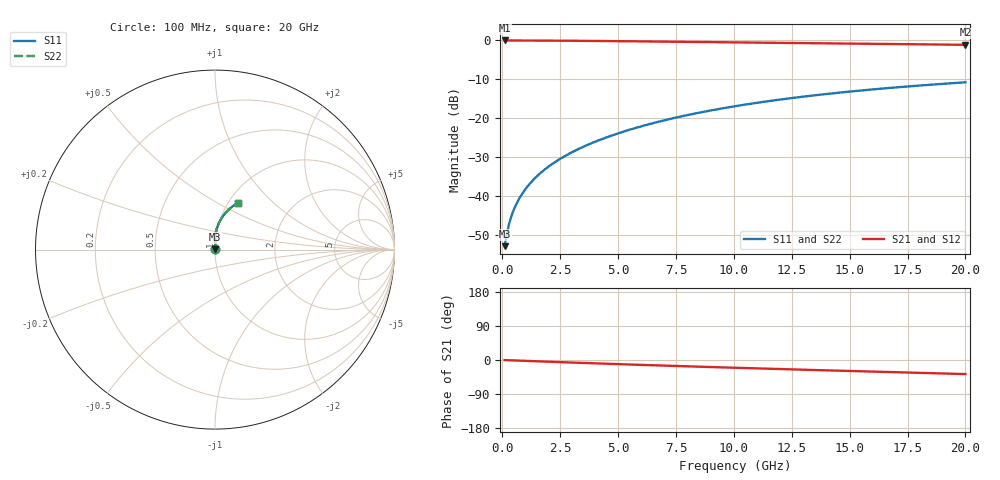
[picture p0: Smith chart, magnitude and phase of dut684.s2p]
! Touchstone file exported from HFSS 2024.1.0
!  File:  C:/UserFiles/LocalFiles/RDL_TSV_Batchsim/temp_RDL_top_684_1779782580.aedt
!  Generated:  04:04:59 PM May 26, 2026
!  Design:  RDL_top
!  Project:  temp_RDL_top_684_1779782580
!  Setup:  Setup1
!  Solution:  Sweep
! Variables:
!  dtsv = 10.80580581um
!  hbump = 3um
!  htsv = 87um
!  ldown = 100um
!  lrdl = 560.85um
!  p = 40
!  p1 = 48.77um
!  rhole = 1um
!  t = 450um
!  tdown = 3.915915916um
!  trdl = 4.87um
!  wdown = 15.38538539um
!  wrdl = 25.62um
# GHz S MA R 50.000000
! Terminal data exported
! Port[1] = Box2_T1
! Port[2] = Box2_T2
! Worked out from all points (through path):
!   200 points, 100 MHz to 20 GHz, reference 50 ohm
!   highest |S21| = -0.02 dB at 100 MHz (marker M1); lowest = -1.1 dB at 20 GHz (marker M2)
!   group delay of S21, straight-line fit = 5.09 ps
!   lowest |S11| = -52.9 dB at 100 MHz (marker M3), VSWR 1.00, Z = 50.2 + j0.138 ohm
!   |S11| at or under -10 dB: start of sweep to end of sweep
!   |S22| runs from -52.9 to -10.8 dB; largest |S21 - S12| = 4.2e-15
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0.1  0.002261 37.5  0.9982 -0.2  0.9982 -0.2  0.002261 37.5
! Gamma 0 0 0 0
! Port Impedance 50 0 50 0
0.2  0.003305 54.6  0.998 -0.5  0.998 -0.5  0.003305 54.6
0.3  0.004444 62.5  0.9978 -0.7  0.9978 -0.7  0.004444 62.5
0.4  0.005574 67.0  0.9976 -0.9  0.9976 -0.9  0.005575 67.0
0.5  0.006688 70.2  0.9975 -1.2  0.9975 -1.2  0.006688 70.2
0.6  0.007792 72.6  0.9973 -1.4  0.9973 -1.4  0.007793 72.6
0.8  0.01 76.1  0.997 -1.8  0.997 -1.8  0.01 76.1
1.1  0.01337 79.7  0.9964 -2.5  0.9964 -2.5  0.01337 79.7
1.3  0.01565 81.4  0.9959 -3.0  0.9959 -3.0  0.01565 81.4
1.6  0.01914 83.3  0.9951 -3.6  0.9951 -3.6  0.01914 83.3
2.1  0.0251 85.4  0.9934 -4.8  0.9934 -4.8  0.0251 85.5
2.7  0.03253 87.1  0.9908 -6.1  0.9908 -6.1  0.03253 87.1
3.5  0.0429 88.2  0.9867 -7.8  0.9867 -7.8  0.0429 88.3
4.2  0.0524 88.7  0.9827 -9.3  0.9827 -9.3  0.05241 88.7
5  0.06375 88.7  0.9776 -10.9  0.9776 -10.9  0.06375 88.7
6.8  0.0908 87.4  0.9654 -14.5  0.9654 -14.5  0.09081 87.4
8.4  0.116 85.2  0.9543 -17.5  0.9543 -17.5  0.116 85.3
10.1  0.1433 82.4  0.9425 -20.6  0.9425 -20.6  0.1433 82.4
11.7  0.1688 79.4  0.9316 -23.4  0.9316 -23.4  0.1689 79.5
13.4  0.1954 76.2  0.9202 -26.3  0.9202 -26.3  0.1955 76.2
16.7  0.2444 69.9  0.8986 -31.8  0.8986 -31.8  0.2445 69.9
20  0.2891 63.8  0.8773 -37.1  0.8773 -37.1  0.2892 63.9
